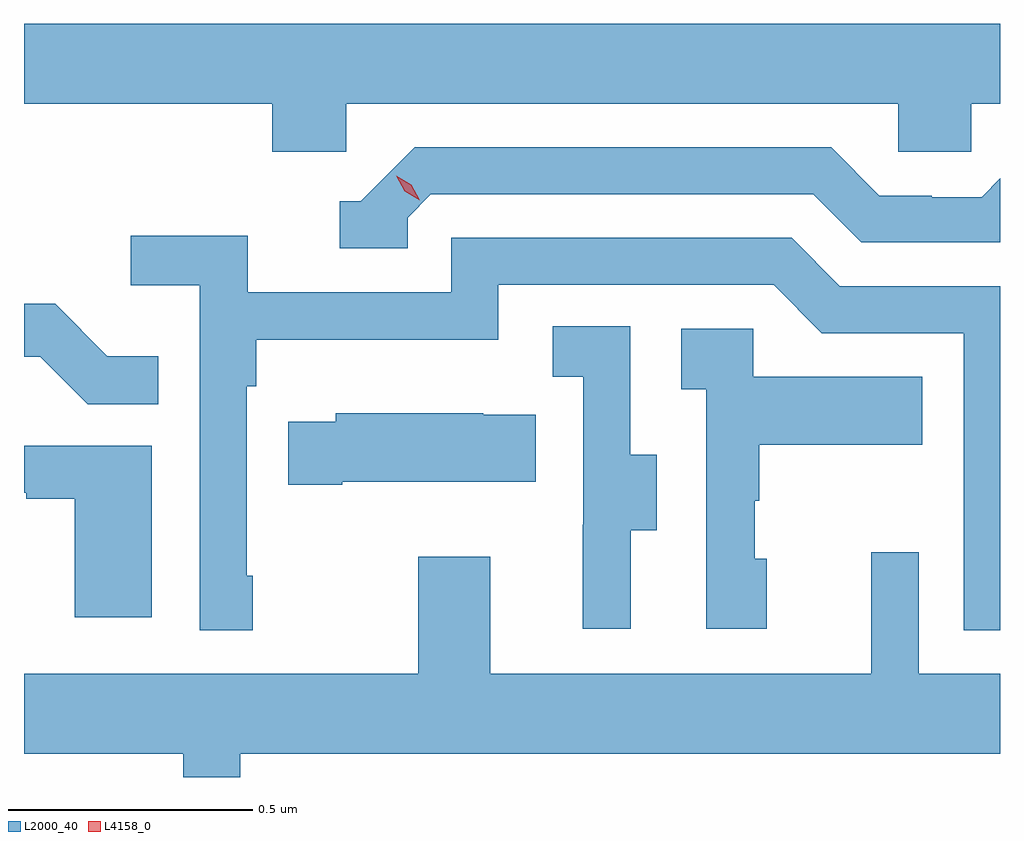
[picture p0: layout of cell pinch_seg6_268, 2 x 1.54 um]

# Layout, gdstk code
import gdstk
lib = gdstk.Library(unit=1e-6, precision=1e-09)
def P(c, l, *ps):  # polygons
    for p in ps: c.add(gdstk.Polygon(p, *l))
L2000_40 = (2000, 40)
L4158_0 = (4158, 0)

pinch_seg6_268 = lib.new_cell('pinch_seg6_268')
P(pinch_seg6_268, L2000_40, [(1091.196,922.028),(1092.327,922.028),(1092.327,921.93),(1092.477,921.93),(1092.477,922.028),(1092.536,922.028),(1092.536,922.192),(1090.536,922.192),(1090.536,922.028),(1091.045,922.028),(1091.045,921.93),(1091.196,921.93)],
  [(1091.322,921.795),(1091.37,921.843),(1092.153,921.843),(1092.252,921.744),(1092.536,921.744),(1092.536,921.875),(1092.499,921.837),(1092.396,921.837),(1092.396,921.84),(1092.289,921.84),(1092.19,921.939),(1091.337,921.939),(1091.226,921.828),(1091.183,921.828),(1091.183,921.732),(1091.322,921.732)],
  [(1091.005,921.061),(1090.992,921.061),(1090.992,921.449),(1091.012,921.449),(1091.012,921.545),(1091.508,921.545),(1091.508,921.657),(1092.072,921.657),(1092.171,921.558),(1092.462,921.558),(1092.462,920.949),(1092.536,920.949),(1092.536,921.654),(1092.208,921.654),(1092.109,921.753),(1091.412,921.753),(1091.412,921.642),(1090.994,921.642),(1090.994,921.758),(1090.755,921.758),(1090.755,921.656),(1090.896,921.656),(1090.896,920.949),(1091.005,920.949)],
  [(1090.811,921.511),(1090.707,921.511),(1090.6,921.618),(1090.536,921.618),(1090.536,921.51),(1090.569,921.51),(1090.667,921.412),(1090.811,921.412)],
  [(1091.779,921.154),(1091.833,921.154),(1091.833,921.309),(1091.778,921.309),(1091.778,921.572),(1091.619,921.572),(1091.619,921.469),(1091.682,921.469),(1091.682,921.165),(1091.681,921.165),(1091.681,920.952),(1091.779,920.952)],
  [(1092.058,921.096),(1092.033,921.096),(1092.033,921.215),(1092.043,921.215),(1092.043,921.329),(1092.377,921.329),(1092.377,921.469),(1092.03,921.469),(1092.03,921.567),(1091.883,921.567),(1091.883,921.443),(1091.934,921.443),(1091.934,920.952),(1092.058,920.952)],
  [(1091.188,921.254),(1091.585,921.254),(1091.585,921.391),(1091.477,921.391),(1091.477,921.394),(1091.175,921.394),(1091.175,921.376),(1091.077,921.376),(1091.077,921.247),(1091.188,921.247)],
  [(1090.798,921.327),(1090.536,921.327),(1090.536,921.231),(1090.541,921.231),(1090.541,921.219),(1090.64,921.219),(1090.64,920.976),(1090.798,920.976)],
  [(1090.979,920.696),(1092.536,920.696),(1092.536,920.86),(1092.369,920.86),(1092.369,921.109),(1092.272,921.109),(1092.272,920.86),(1091.491,920.86),(1091.491,921.1),(1091.344,921.1),(1091.344,920.86),(1090.536,920.86),(1090.536,920.696),(1090.862,920.696),(1090.862,920.648),(1090.979,920.648)])
P(pinch_seg6_268, L4158_0, [(1091.347,921.83),(1091.316,921.849),(1091.299,921.881),(1091.299,921.881),(1091.299,921.881),(1091.33,921.862),(1091.347,921.83),(1091.347,921.83)])

lib.write_gds('pinch_seg6_268.gds')
